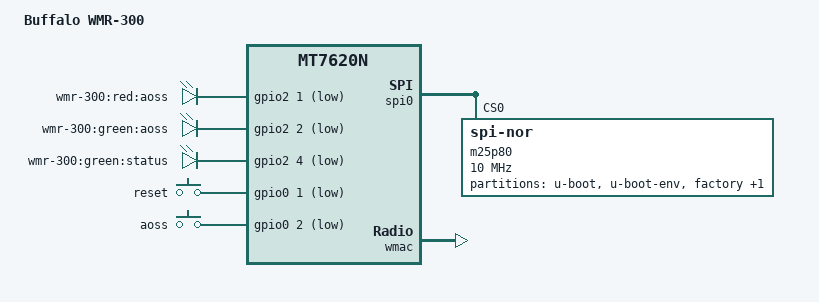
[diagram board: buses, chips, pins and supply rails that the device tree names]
/dts-v1/;

#include "mt7620n.dtsi"

/ {
	compatible = "buffalo,wmr-300", "ralink,mt7620n-soc";
	model = "Buffalo WMR-300";

	gpio-leds {
		compatible = "gpio-leds";

		aoss1 {
			label = "wmr-300:red:aoss";
			gpios = <&gpio2 1 1>;
		};

		aoss2 {
			label = "wmr-300:green:aoss";
			gpios = <&gpio2 2 1>;
		};

		power {
			label = "wmr-300:green:status";
			gpios = <&gpio2 4 1>;
		};
	};

	gpio-keys-polled {
		compatible = "gpio-keys-polled";
		#address-cells = <1>;
		#size-cells = <0>;
		poll-interval = <20>;

		reset {
			label = "reset";
			gpios = <&gpio0 1 1>;
			linux,code = <0x198>;
		};

		aoss {
			label = "aoss";
			gpios = <&gpio0 2 1>;
			linux,code = <0x211>;
		};
	};
};

&gpio2 {
	status = "okay";
};

&spi0 {
	status = "okay";

	m25p80@0 {
		#address-cells = <1>;
		#size-cells = <1>;
		compatible = "jedec,spi-nor";
		reg = <0>;
		linux,modalias = "m25p80", "en25q64";
		spi-max-frequency = <10000000>;

		partition@0 {
			label = "u-boot";
			reg = <0x0 0x30000>;
			read-only;
		};

		partition@30000 {
			label = "u-boot-env";
			reg = <0x30000 0x10000>;
			read-only;
		};

		factory: partition@40000 {
			label = "factory";
			reg = <0x40000 0x10000>;
			read-only;
		};

		partition@50000 {
			label = "firmware";
			reg = <0x50000 0x7b0000>;
		};
	};
};

&ethernet {
	mtd-mac-address = <&factory 0x4>;
	mediatek,portmap = "wllll";
};

&wmac {
	ralink,mtd-eeprom = <&factory 0>;
};

&pinctrl {
	state_default: pinctrl0 {
		default {
			ralink,group = "i2c", "ephy";
			ralink,function = "gpio";
		};
	};
};
